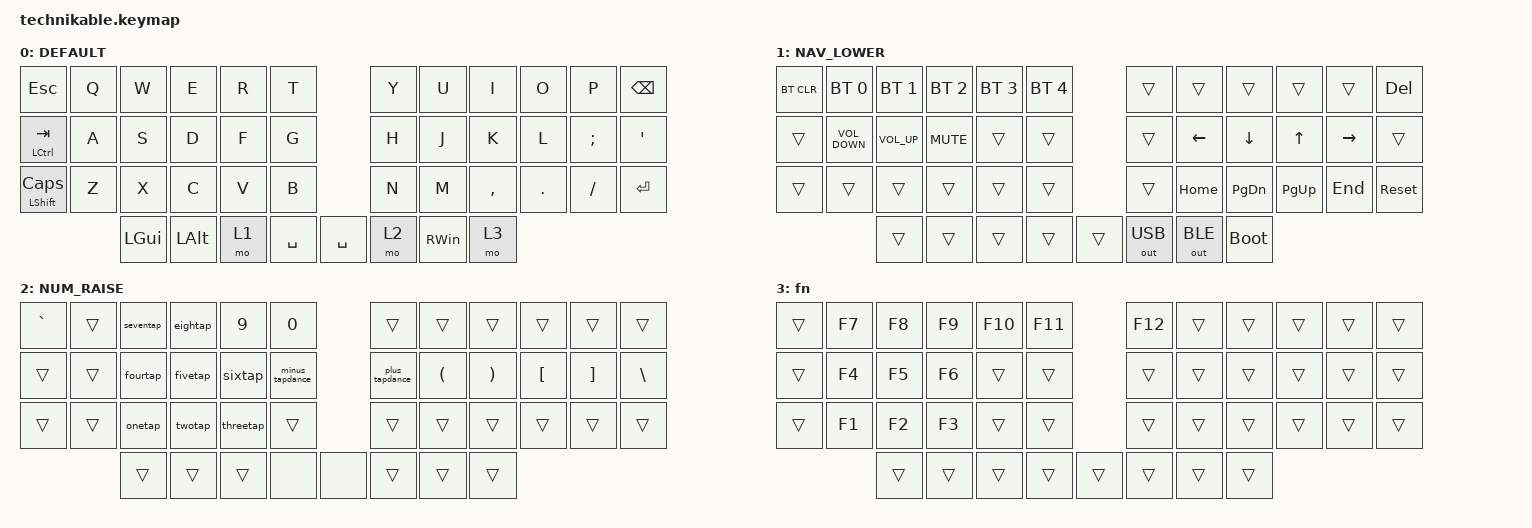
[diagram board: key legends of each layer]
/*
 * Copyright (c) 2022 Pete Johanson
 *
 * SPDX-License-Identifier: MIT
 */

#include <behaviors.dtsi>
#include <dt-bindings/zmk/bt.h>
#include <dt-bindings/zmk/keys.h>
#include <dt-bindings/zmk/outputs.h>

#define BAS_L 0
#define NAV_L 1
#define NUM_L 2
#define SYM_L 3

// Using layer taps on thumbs, having quick tap as well helps w/ repeating space/backspace

&lt { quick_tap_ms = <200>; };

/ {
    chosen { zmk,matrix_transform = &ortho_transform; };

    conditional_layers { compatible = "zmk,conditional-layers"; };

    combos {
        compatible = "zmk,combos";

        ad_tab {
            bindings = <&kp TAB>;
            key-positions = <13 14>;
        };
    };

    behaviors {
        onetap: onetap {
            compatible = "zmk,behavior-tap-dance";
            label = "ONETAP";
            #binding-cells = <0>;
            bindings = <&kp N1>, <&kp EXCLAMATION>;
        };

        twotap: twotap {
            compatible = "zmk,behavior-tap-dance";
            label = "TWOTAP";
            #binding-cells = <0>;
            bindings = <&kp N2>, <&kp AT>;
        };

        threetap: threetap {
            compatible = "zmk,behavior-tap-dance";
            label = "THREETAP";
            #binding-cells = <0>;
            bindings = <&kp N3>, <&kp POUND>;
        };

        fourtap: fourtap {
            compatible = "zmk,behavior-tap-dance";
            label = "FOURTAP";
            #binding-cells = <0>;
            bindings = <&kp N4>, <&kp DOLLAR>;
        };

        fivetap: fivetap {
            compatible = "zmk,behavior-tap-dance";
            label = "FIVETAP";
            #binding-cells = <0>;
            bindings = <&kp N5>, <&kp PERCENT>;
        };

        sixtap: sixtap {
            compatible = "zmk,behavior-tap-dance";
            label = "SIXTAP";
            #binding-cells = <0>;
            bindings = <&kp N6>, <&kp CARET>;
        };

        seventap: seventap {
            compatible = "zmk,behavior-tap-dance";
            label = "SEVENTAP";
            #binding-cells = <0>;
            bindings = <&kp N7>, <&kp AMPERSAND>;
        };

        eightap: eightap {
            compatible = "zmk,behavior-tap-dance";
            label = "EIGHTAP";
            #binding-cells = <0>;
            bindings = <&kp N8>, <&kp STAR>;
        };

        enter_apostrophe: enter_apostrophe {
            compatible = "zmk,behavior-tap-dance";
            label = "ENTER_APOSTROPHE";
            #binding-cells = <0>;
            bindings = <&kp SQT>, <&kp ENTER>;
        };

        minus_tapdance: minus_tapdance {
            compatible = "zmk,behavior-tap-dance";
            label = "MINUS_TAPDANCE";
            #binding-cells = <0>;
            bindings = <&kp MINUS>, <&kp UNDER>;
        };

        plus_tapdance: plus_tapdance {
            compatible = "zmk,behavior-tap-dance";
            label = "PLUS_TAPDANCE";
            #binding-cells = <0>;
            bindings = <&kp EQUAL>, <&kp PLUS>;
        };
    };

    keymap {
        compatible = "zmk,keymap";

        base_layer {
            label = "DEFAULT";
            bindings = <
&kp ESC         &kp Q  &kp W         &kp E     &kp R  &kp T                 &kp Y  &kp U          &kp I      &kp O    &kp P     &kp BACKSPACE
&mt LCTRL TAB   &kp A  &kp S         &kp D     &kp F  &kp G                 &kp H  &kp J          &kp K      &kp L    &kp SEMI  &kp SQT
&mt LSHFT CAPS  &kp Z  &kp X         &kp C     &kp V  &kp B                 &kp N  &kp M          &kp COMMA  &kp DOT  &kp FSLH  &kp RET
                       &kp LEFT_GUI  &kp LALT  &mo 1  &kp SPACE  &kp SPACE  &mo 2  &kp RIGHT_WIN  &mo 3
            >;
        };

        Nav {
            label = "NAV_LOWER";
            bindings = <
&bt BT_CLR  &bt BT_SEL 0       &bt BT_SEL 1     &bt BT_SEL 2  &bt BT_SEL 3  &bt BT_SEL 4          &trans        &trans        &trans          &trans        &trans           &kp DEL
&trans      &kp C_VOLUME_DOWN  &kp C_VOLUME_UP  &kp C_MUTE    &trans        &trans                &trans        &kp LEFT      &kp DOWN_ARROW  &kp UP_ARROW  &kp RIGHT_ARROW  &trans
&trans      &trans             &trans           &trans        &trans        &trans                &trans        &kp HOME      &kp PG_DN       &kp PG_UP     &kp END          &sys_reset
                               &trans           &trans        &trans        &trans        &trans  &out OUT_USB  &out OUT_BLE  &bootloader
            >;
        };

        Num {
            label = "NUM_RAISE";
            bindings = <
&kp GRAVE  &trans  &seventap  &eightap  &kp N9     &kp N0                  &trans          &trans                &trans                 &trans            &trans             &trans
&trans     &trans  &fourtap   &fivetap  &sixtap    &minus_tapdance         &plus_tapdance  &kp LEFT_PARENTHESIS  &kp RIGHT_PARENTHESIS  &kp LEFT_BRACKET  &kp RIGHT_BRACKET  &kp BACKSLASH
&trans     &trans  &onetap    &twotap   &threetap  &trans                  &trans          &trans                &trans                 &trans            &trans             &trans
                   &trans     &trans    &trans     &none            &none  &trans          &trans                &trans
            >;
        };

        fn {
            bindings = <
&trans  &kp F7  &kp F8  &kp F9  &kp F10  &kp F11          &kp F12  &trans  &trans  &trans  &trans  &trans
&trans  &kp F4  &kp F5  &kp F6  &trans   &trans           &trans   &trans  &trans  &trans  &trans  &trans
&trans  &kp F1  &kp F2  &kp F3  &trans   &trans           &trans   &trans  &trans  &trans  &trans  &trans
                &trans  &trans  &trans   &trans   &trans  &trans   &trans  &trans
            >;
        };
    };
};
